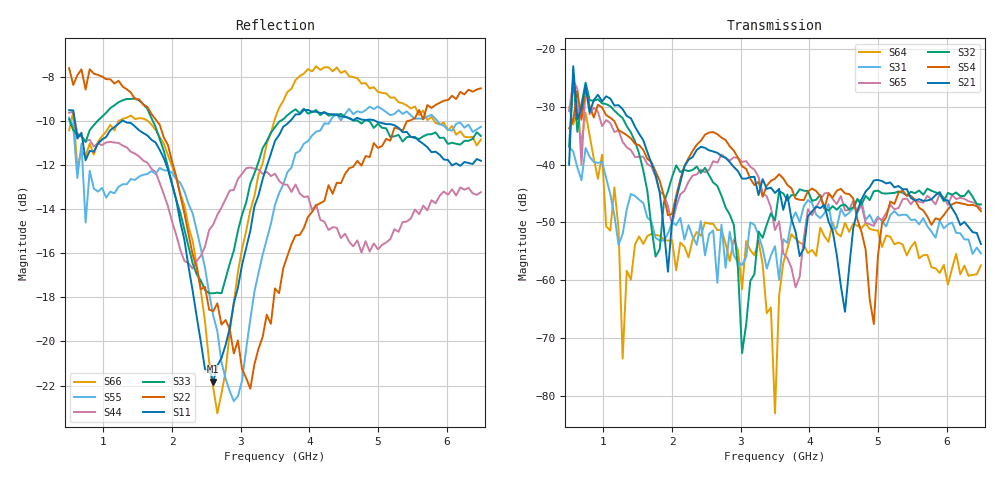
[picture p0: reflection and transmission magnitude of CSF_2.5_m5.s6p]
!Keysight Technologies,M9804A,MY58100912,A.14.10.03
!Date: Thursday, April 27, 2023 10:28:33
!Correction: S11(C  6-Port  )
!S12(C  6-Port  )
!S13(C  6-Port  )
!S14(C  6-Port  )
!S15(C  6-Port  )
!S16(C  6-Port  )
!S21(C  6-Port  )
!S22(C  6-Port  )
!S23(C  6-Port  )
!S24(C  6-Port  )
!S25(C  6-Port  )
!S26(C  6-Port  )
!S31(C  6-Port  )
!S32(C  6-Port  )
!S33(C  6-Port  )
!S34(C  6-Port  )
!S35(C  6-Port  )
!S36(C  6-Port  )
!S41(C  6-Port  )
!S42(C  6-Port  )
!S43(C  6-Port  )
!S44(C  6-Port  )
!S45(C  6-Port  )
!S46(C  6-Port  )
!S51(C  6-Port  )
!S52(C  6-Port  )
!S53(C  6-Port  )
!S54(C  6-Port  )
!S55(C  6-Port  )
!S56(C  6-Port  )
!S61(C  6-Port  )
!S62(C  6-Port  )
!S63(C  6-Port  )
!S64(C  6-Port  )
!S65(C  6-Port  )
!S66(C  6-Port  )
!S6P File: Measurement: :
# Hz S  RI  R 50
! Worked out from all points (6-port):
!   101 points, 500 MHz to 6.5 GHz, reference 50 ohm
!   strongest paths, dB at 500 MHz, 2 GHz, 3.5 GHz, 5 GHz, 6.5 GHz:
!     S21: -40.0, -49.8, -44.9, -42.7, -53.7
!     S54: -33.7, -48.6, -42.5, -55.8, -48.1
!     S32: -36.8, -42.2, -49.7, -44.5, -46.9
!     S65: -30.8, -50.3, -51.3, -49.2, -47.7
!     S31: -37.0, -50.0, -54.1, -49.0, -55.4
!     S64: -30.1, -53.1, -83.0, -51.4, -57.4
!   lowest |S11| = -21.8 dB at 2.6 GHz (marker M1), VSWR 1.18, Z = 42.7 + j1.93 ohm
!   |S11| at or under -10 dB: 582.5 MHz to 1.271 GHz (688.3 MHz wide, 74.3 % of centre); 1.294 GHz to 3.722 GHz (2.427 GHz wide, 96.8 % of centre); 4.964 GHz to end of sweep
